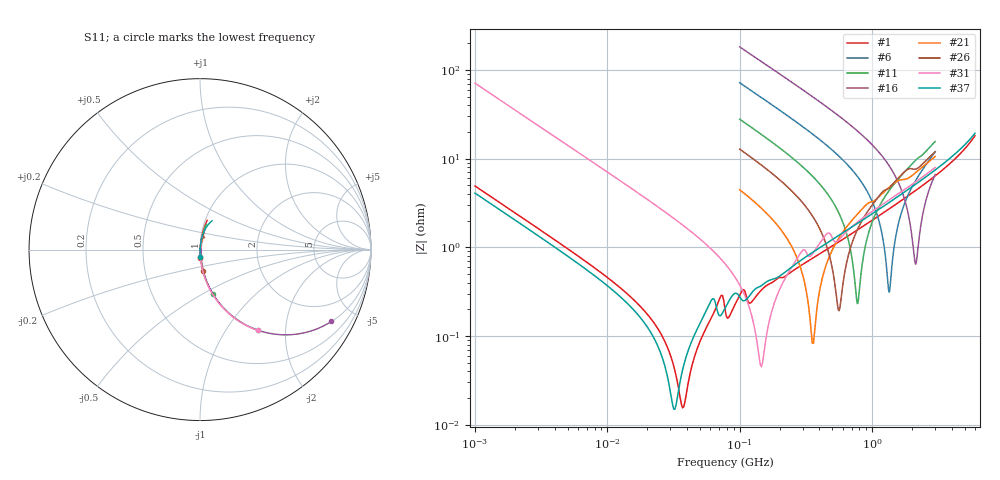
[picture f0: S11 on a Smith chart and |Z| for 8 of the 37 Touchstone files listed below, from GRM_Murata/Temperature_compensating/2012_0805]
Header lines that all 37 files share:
!These Parameters are Measured in Series Mode Connection
!Data Generated on Mar 30, 2021
!  o--ll--o
!Port1  Port2
!  o------o
!Operation Temp=25[degC], DC Bias Voltage=0[V]
# Hz S RI R 50
!Freq.(Hz) S11(Real) S11(Imag) S21(Real) S21(Imag) S12(Real) S12(Imag) S22(Real) S22(Imag)
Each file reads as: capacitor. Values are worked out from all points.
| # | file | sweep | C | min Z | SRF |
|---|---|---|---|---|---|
| 1 | GRM21A1X1H333JA39.s2p | 1 MHz to 6 GHz | 32.3 nF | 15.5 mohm | 37.39 MHz |
| 2 | GRM21A5C2E100JW01.s2p | 100 MHz to 3 GHz | 10 pF | 522 mohm | 1.91 GHz |
| 3 | GRM21A5C2E120JW01.s2p | 100 MHz to 3 GHz | 12 pF | 360 mohm | 1.778 GHz |
| 4 | GRM21A5C2E121JW01.s2p | 100 MHz to 3 GHz | 120 pF | 117 mohm | 619.1 MHz |
| 5 | GRM21A5C2E181JW01.s2p | 100 MHz to 3 GHz | 180 pF | 106 mohm | 518.6 MHz |
| 6 | GRM21A5C2E220JW01.s2p | 100 MHz to 3 GHz | 22 pF | 312 mohm | 1.348 GHz |
| 7 | GRM21A5C2E271JW01.s2p | 100 MHz to 3 GHz | 270 pF | 88.1 mohm | 445.3 MHz |
| 8 | GRM21A5C2E330JW01.s2p | 100 MHz to 3 GHz | 33 pF | 259 mohm | 1.131 GHz |
| 9 | GRM21A5C2E390JW01.s2p | 100 MHz to 3 GHz | 39 pF | 238 mohm | 961.9 MHz |
| 10 | GRM21A5C2E391JWA1.s2p | 100 MHz to 3 GHz | 380 pF | 81 mohm | 335.1 MHz |
| 11 | GRM21A5C2E560JW01.s2p | 100 MHz to 3 GHz | 56 pF | 232 mohm | 777.5 MHz |
| 12 | GRM21A5C2E561JWA1.s2p | 100 MHz to 3 GHz | 563 pF | 63.8 mohm | 284.8 MHz |
| 13 | GRM21A5C2E681JWA1.s2p | 100 MHz to 3 GHz | 684 pF | 74.1 mohm | 249.6 MHz |
| 14 | GRM21A5C2E820JW01.s2p | 100 MHz to 3 GHz | 82 pF | 198 mohm | 682.6 MHz |
| 15 | GRM21A5C2E821JWA1.s2p | 100 MHz to 3 GHz | 822 pF | 68.2 mohm | 229.4 MHz |
| 16 | GRM21A5C2J100JWA1.s2p | 100 MHz to 3 GHz | 8.69 pF | 648 mohm | 2.139 GHz |
| 17 | GRM21A5C2J101JWA1.s2p | 100 MHz to 3 GHz | 99.8 pF | 150 mohm | 675.2 MHz |
| 18 | GRM21A5C2J180JWA1.s2p | 100 MHz to 3 GHz | 18 pF | 390 mohm | 1.554 GHz |
| 19 | GRM21A5C2J181JWA1.s2p | 100 MHz to 3 GHz | 180 pF | 112 mohm | 492 MHz |
| 20 | GRM21A5C2J220JWA1.s2p | 100 MHz to 3 GHz | 21.8 pF | 327 mohm | 1.421 GHz |
| 21 | GRM21A5C2J331JWA1.s2p | 100 MHz to 3 GHz | 328 pF | 82.9 mohm | 357.7 MHz |
| 22 | GRM21A5C2J470JWA1.s2p | 100 MHz to 3 GHz | 46.9 pF | 244 mohm | 927 MHz |
| 23 | GRM21A5C2J471JWA1.s2p | 100 MHz to 3 GHz | 465 pF | 69 mohm | 304.4 MHz |
| 24 | GRM21A5C2J820JWA1.s2p | 100 MHz to 3 GHz | 81.8 pF | 153 mohm | 707.2 MHz |
| 25 | GRM21A7U2E101JW31.s2p | 100 MHz to 3 GHz | 99.9 pF | 195 mohm | 599.1 MHz |
| 26 | GRM21A7U2E121JW31.s2p | 100 MHz to 3 GHz | 120 pF | 193 mohm | 562.5 MHz |
| 27 | GRM21A7U2E122JW31.s2p | 1 MHz to 3 GHz | 1.2 nF | 61.6 mohm | 189 MHz |
| 28 | GRM21A7U2E151JW31.s2p | 100 MHz to 3 GHz | 150 pF | 160 mohm | 510.3 MHz |
| 29 | GRM21A7U2E181JW31.s2p | 100 MHz to 3 GHz | 180 pF | 165 mohm | 446.4 MHz |
| 30 | GRM21A7U2E221JW31.s2p | 100 MHz to 3 GHz | 220 pF | 155 mohm | 412.8 MHz |
| 31 | GRM21A7U2E222JW31.s2p | 1 MHz to 3 GHz | 2.24 nF | 44.9 mohm | 145.7 MHz |
| 32 | GRM21A7U2E331JW31.s2p | 100 MHz to 3 GHz | 330 pF | 128 mohm | 319.3 MHz |
| 33 | GRM21A7U2E391JW31.s2p | 100 MHz to 3 GHz | 390 pF | 117 mohm | 303.5 MHz |
| 34 | GRM21A7U2E471JW31.s2p | 100 MHz to 3 GHz | 469 pF | 95.7 mohm | 282.4 MHz |
| 35 | GRM21A7U2E561JW31.s2p | 100 MHz to 3 GHz | 560 pF | 101 mohm | 246.7 MHz |
| 36 | GRM21B1X1A823JA01.s2p | 1 MHz to 6 GHz | 83.9 nF | 12.3 mohm | 22.21 MHz |
| 37 | GRM21B1X1H393JA01.s2p | 1 MHz to 6 GHz | 38.8 nF | 15 mohm | 32.19 MHz |
